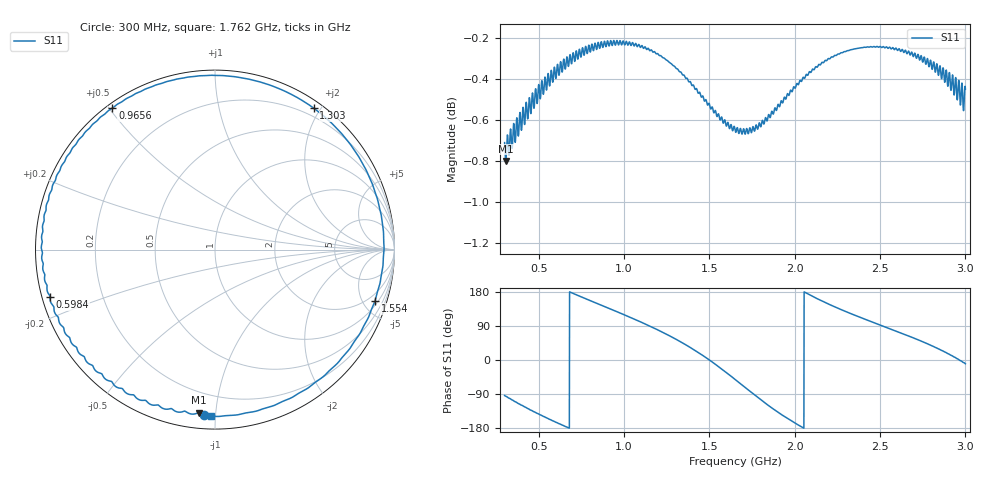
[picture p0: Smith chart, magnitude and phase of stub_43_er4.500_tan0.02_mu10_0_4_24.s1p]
! Chirptenna · simulación 3D de un stub abierto
# HZ S RI R 50
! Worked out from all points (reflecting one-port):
!   2001 points, 300 MHz to 3 GHz, reference 50 ohm
!   lowest |S11| = -0.8 dB at 306.8 MHz (marker M1), VSWR 21.73, Z = 4.19 - j45.2 ohm
!   phase of S11 starts at -94 deg and turns -636 deg over the sweep
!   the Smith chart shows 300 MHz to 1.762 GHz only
!   S11 on the Smith chart (normalised r, x): 300 MHz: 0.08, -0.93; 598.4 MHz: 0.02, -0.14; 965.5 MHz: 0.02, +0.51; 1.303 GHz: 0.09, +1.92; 1.554 GHz: 1.33, -6.14; 1.762 GHz: 0.07, -0.97
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3e8  -0.0624 -0.9194
3.0675e8  -0.0882 -0.9078
4.566e8  -0.637 -0.6895
5.9835e8  -0.9185 -0.2649
6.375e8  -0.9485 -0.1386
7.995e8  -0.8929 0.3794
9.6555e8  -0.5717 0.7879
9.75e8  -0.549 0.8063
1.1505e9  0.00864 0.9701
1.30305e9  0.5508 0.7872
1.3125e9  0.5819 0.7639
1.44885e9  0.9113 0.2546
1.55415e9  0.892 -0.2848
1.65e9  0.5821 -0.7231
1.70805e9  0.2861 -0.8807
1.76205e9  -0.0214 -0.9275
1.81875e9  -0.3325 -0.8697
1.8795e9  -0.6123 -0.7107
1.9875e9  -0.9054 -0.2835
2.0577e9  -0.9552 0.0146
2.13195e9  -0.9128 0.3013
2.2278e9  -0.7576 0.601
2.325e9  -0.5292 0.8136
2.4924e9  -0.0626 0.97
2.6625e9  0.4199 0.8736
2.7651e9  0.6804 0.6828
2.86095e9  0.8632 0.4087
3e9  0.9351 -0.1649
